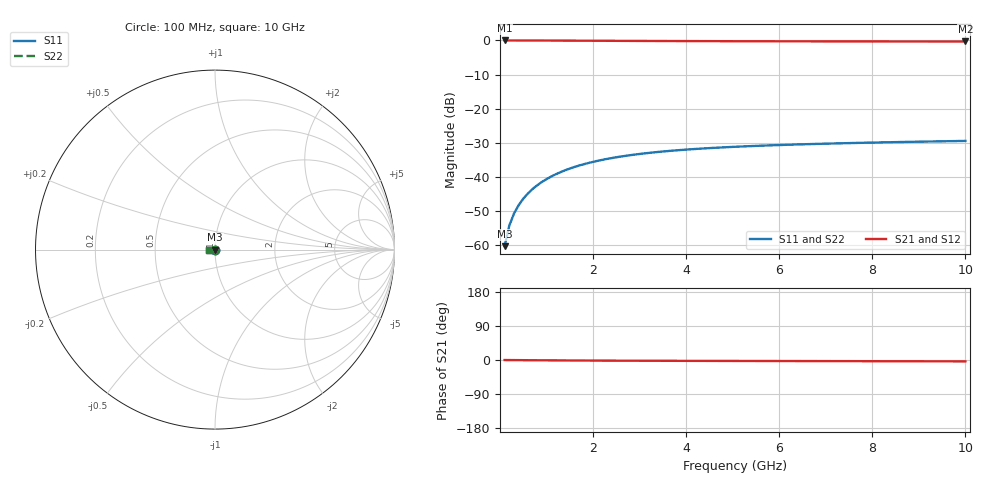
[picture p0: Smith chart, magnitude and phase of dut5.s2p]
! Touchstone file exported from HFSS 2024.1.0
!  File:  C:/UserFiles/LocalFiles/RDL_TSV_Batchsim/temp_TSV1_5_1779367700.aedt
!  Generated:  08:53:43 PM May 21, 2026
!  Design:  TSV1
!  Project:  temp_TSV1_5_1779367700
!  Setup:  Setup1
!  Solution:  Sweep
! Variables:
!  dtsv = 12.37um
!  hbump = 3um
!  htsv = 52.35um
!  lrdl = 252.1521522um
!  p = 40
!  p1 = 54.32um
!  t = 500um
!  trdl = 3um
!  wrdl = 24.89489489um
# GHz S MA R 50.000000
! Terminal data exported
! Port[1] = TSV22_T1
! Port[2] = TSV22_T2
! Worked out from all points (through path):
!   100 points, 100 MHz to 10 GHz, reference 50 ohm
!   highest |S21| = 0.00 dB at 100 MHz (marker M1); lowest = -0.3 dB at 10 GHz (marker M2)
!   lowest |S11| = -60.4 dB at 100 MHz (marker M3), VSWR 1.00, Z = 50 - j0.0954 ohm
!   |S11| at or under -10 dB: start of sweep to end of sweep
!   |S22| runs from -60.4 to -29.5 dB; largest |S21 - S12| = 6.8e-15
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0.1  0.0009549 -87.5  0.9999 -0.1  0.9999 -0.1  0.0009549 -87.5
! Gamma 0 0 0 0
! Port Impedance 50 0 50 0
0.2  0.001906 -91.5  0.9998 -0.2  0.9998 -0.2  0.001906 -91.5
0.3  0.002857 -94.0  0.9996 -0.3  0.9996 -0.3  0.002857 -94.0
0.4  0.003803 -96.2  0.9994 -0.4  0.9994 -0.4  0.003803 -96.2
0.5  0.004741 -98.3  0.9991 -0.5  0.9991 -0.5  0.004741 -98.3
0.6  0.005668 -100.4  0.9987 -0.5  0.9987 -0.5  0.005668 -100.4
0.7  0.00658 -102.4  0.9983 -0.6  0.9983 -0.6  0.00658 -102.4
0.8  0.007475 -104.3  0.9979 -0.7  0.9979 -0.7  0.007475 -104.3
0.9  0.008352 -106.2  0.9974 -0.8  0.9974 -0.8  0.008352 -106.2
1.1  0.01004 -109.8  0.9963 -0.9  0.9963 -0.9  0.01004 -109.8
1.4  0.01241 -115.0  0.9945 -1.2  0.9945 -1.2  0.01241 -115.0
1.6  0.01387 -118.3  0.9931 -1.3  0.9931 -1.3  0.01387 -118.3
1.8  0.01524 -121.4  0.9918 -1.4  0.9918 -1.4  0.01524 -121.4
2.1  0.0171 -125.8  0.9897 -1.6  0.9897 -1.6  0.0171 -125.8
2.5  0.01928 -131.2  0.987 -1.8  0.987 -1.8  0.01928 -131.2
2.9  0.02113 -136.1  0.9845 -1.9  0.9845 -1.9  0.02113 -136.1
3.4  0.02308 -141.5  0.9817 -2.1  0.9817 -2.1  0.02308 -141.5
4.2  0.02552 -148.9  0.9778 -2.3  0.9778 -2.3  0.02552 -148.9
5.1  0.02757 -155.9  0.9744 -2.5  0.9744 -2.5  0.02757 -155.9
6.7  0.03015 -165.8  0.9702 -2.9  0.9702 -2.9  0.03015 -165.8
8.4  0.03207 -174.1  0.9672 -3.3  0.9672 -3.3  0.03207 -174.1
10  0.0335 179.3  0.9653 -3.6  0.9653 -3.6  0.0335 179.3
